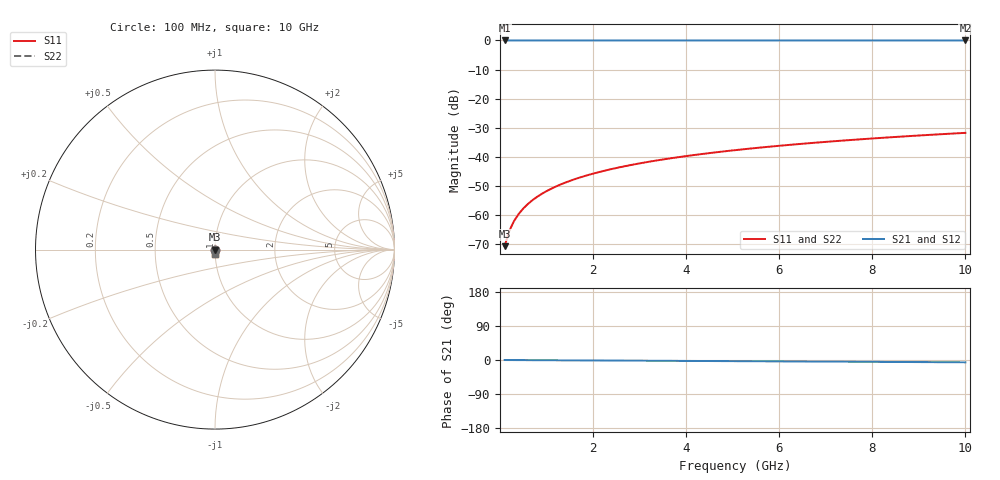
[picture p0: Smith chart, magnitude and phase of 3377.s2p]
# Hz S RI R 50.00
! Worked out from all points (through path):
!   100 points, 100 MHz to 10 GHz, reference 50 ohm
!   highest |S21| = 0.00 dB at 100 MHz (marker M1); lowest = 0.0 dB at 10 GHz (marker M2)
!   lowest |S11| = -70.8 dB at 100 MHz (marker M3), VSWR 1.00, Z = 50 - j0.0254 ohm
!   |S11| at or under -10 dB: start of sweep to end of sweep
!   |S22| runs from -70.8 to -31.8 dB; largest |S21 - S12| = 0
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1e8  0.000135 -0.000254  0.9999 -0.00105  0.9999 -0.00105  0.000135 -0.000254
2e8  0.000134 -0.000508  0.9999 -0.00211  0.9999 -0.00211  0.000134 -0.000508
3e8  0.000133 -0.000763  0.9999 -0.00316  0.9999 -0.00316  0.000133 -0.000763
4e8  0.000131 -0.00102  0.9998 -0.00421  0.9998 -0.00421  0.000131 -0.00102
5e8  0.000128 -0.00127  0.9998 -0.00527  0.9998 -0.00527  0.000128 -0.00127
6e8  0.000125 -0.00153  0.9998 -0.00632  0.9998 -0.00632  0.000125 -0.00153
7e8  0.000122 -0.00178  0.9998 -0.00737  0.9998 -0.00737  0.000122 -0.00178
8e8  0.000117 -0.00203  0.9998 -0.00843  0.9998 -0.00843  0.000117 -0.00203
9e8  0.000113 -0.00229  0.9998 -0.00948  0.9998 -0.00948  0.000113 -0.00229
1.1e9  0.000101 -0.0028  0.9998 -0.0116  0.9998 -0.0116  0.000101 -0.0028
1.4e9  8e-05 -0.00356  0.9997 -0.0148  0.9997 -0.0148  8e-05 -0.00356
1.8e9  4.41e-05 -0.00458  0.9997 -0.019  0.9997 -0.019  4.41e-05 -0.00458
2.1e9  1.14e-05 -0.00535  0.9996 -0.0221  0.9996 -0.0221  1.14e-05 -0.00535
2.5e9  -3.98e-05 -0.00637  0.9995 -0.0264  0.9995 -0.0264  -3.98e-05 -0.00637
2.9e9  -9.98e-05 -0.0074  0.9993 -0.0306  0.9993 -0.0306  -9.98e-05 -0.0074
3.4e9  -0.000187 -0.00868  0.9991 -0.0359  0.9991 -0.0359  -0.000187 -0.00868
4.2e9  -0.000356 -0.0107  0.9988 -0.0444  0.9988 -0.0444  -0.000356 -0.0107
5.1e9  -0.000587 -0.013  0.9983 -0.0539  0.9983 -0.0539  -0.000587 -0.013
5.9e9  -0.000831 -0.0151  0.9977 -0.0625  0.9977 -0.0625  -0.000831 -0.0151
6.7e9  -0.00111 -0.0171  0.9971 -0.071  0.9971 -0.071  -0.00111 -0.0171
8.4e9  -0.00182 -0.0215  0.9956 -0.0891  0.9956 -0.0891  -0.00182 -0.0215
1e10  -0.00264 -0.0255  0.9938 -0.1063  0.9938 -0.1063  -0.00264 -0.0255
